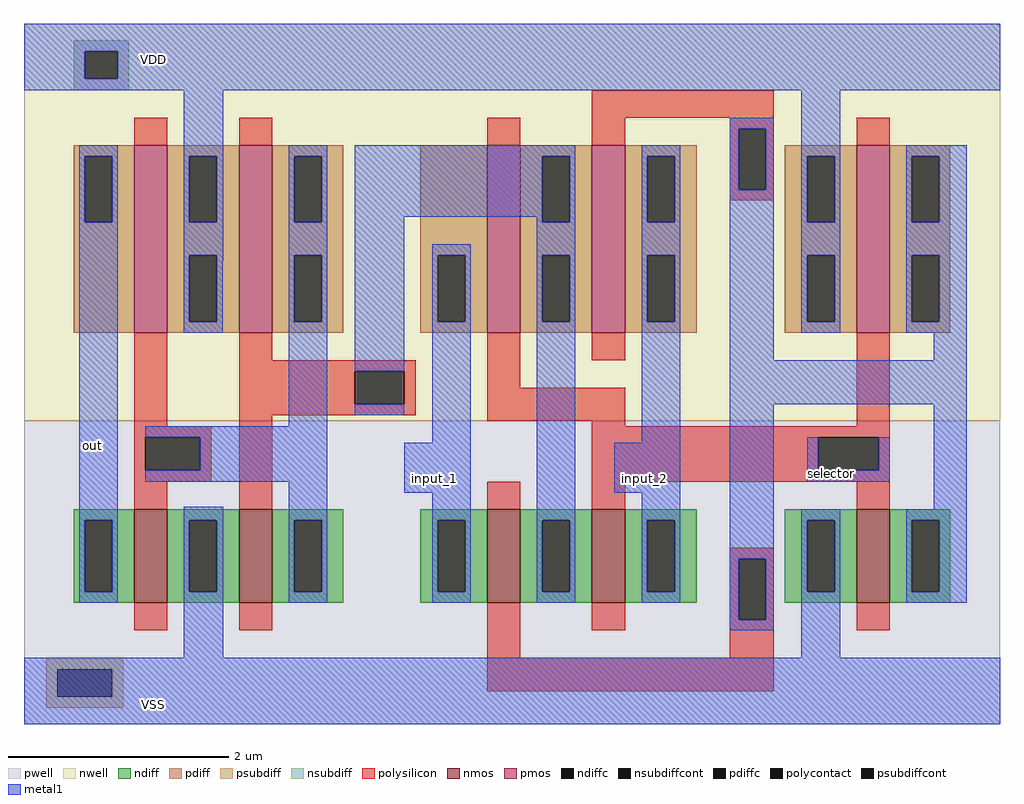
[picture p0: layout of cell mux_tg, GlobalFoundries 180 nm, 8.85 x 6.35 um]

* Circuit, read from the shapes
.subckt mux_tg VDD VSS input_1 input_2 out selector
XM1 VSS n1 out VSS nfet_03v3 w=0.85u l=0.3u
XM2 n1 n2 VSS VSS nfet_03v3 w=0.85u l=0.3u
XM3 n2 n3 input_1 VSS nfet_03v3 w=0.85u l=0.3u
XM4 input_2 selector n2 VSS nfet_03v3 w=0.85u l=0.3u
XM5 n3 selector VSS VSS nfet_03v3 w=0.85u l=0.3u
XM6 VDD n1 out VDD pfet_03v3 w=1.7u l=0.3u
XM7 n1 n2 VDD VDD pfet_03v3 w=1.7u l=0.3u
XM8 n2 selector input_1 VDD pfet_03v3 w=1.7u l=0.3u
XM9 input_2 n3 n2 VDD pfet_03v3 w=1.7u l=0.3u
XM10 n3 selector VDD VDD pfet_03v3 w=1.7u l=0.3u
.ends

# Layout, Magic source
magic
tech gf180mcuD
magscale 1 10
<< nwell >>
rect -260 300 1510 1020
<< pwell >>
rect -260 -250 1510 300
<< nmos >>
rect -60 -30 0 140
rect 130 -30 190 140
rect 580 -30 640 140
rect 770 -30 830 140
rect 1250 -30 1310 140
<< pmos >>
rect -60 460 0 800
rect 130 460 190 800
rect 580 460 640 800
rect 770 460 830 800
rect 1250 460 1310 800
<< ndiff >>
rect -170 120 -60 140
rect -170 -10 -150 120
rect -100 -10 -60 120
rect -170 -30 -60 -10
rect 0 120 130 140
rect 0 -10 40 120
rect 90 -10 130 120
rect 0 -30 130 -10
rect 190 120 319 140
rect 190 -10 230 120
rect 280 -10 319 120
rect 190 -30 319 -10
rect 459 120 580 140
rect 459 -10 490 120
rect 540 -10 580 120
rect 459 -30 580 -10
rect 640 120 770 140
rect 640 -10 680 120
rect 730 -10 770 120
rect 640 -30 770 -10
rect 830 120 960 140
rect 830 -10 870 120
rect 920 -10 960 120
rect 1120 120 1250 140
rect 830 -30 960 -10
rect 1120 -10 1160 120
rect 1210 -10 1250 120
rect 1120 -30 1250 -10
rect 1310 120 1420 140
rect 1310 -10 1350 120
rect 1400 -10 1420 120
rect 1310 -30 1420 -10
<< pdiff >>
rect -170 780 -60 800
rect -170 660 -150 780
rect -100 660 -60 780
rect -170 460 -60 660
rect 0 780 130 800
rect 0 660 40 780
rect 90 660 130 780
rect 0 600 130 660
rect 0 480 40 600
rect 90 480 130 600
rect 0 460 130 480
rect 190 780 319 800
rect 190 660 230 780
rect 280 660 319 780
rect 190 600 319 660
rect 190 480 230 600
rect 280 480 319 600
rect 190 460 319 480
rect 459 600 580 800
rect 459 480 490 600
rect 540 480 580 600
rect 459 460 580 480
rect 640 780 770 800
rect 640 660 680 780
rect 730 660 770 780
rect 640 600 770 660
rect 640 480 680 600
rect 730 480 770 600
rect 640 460 770 480
rect 830 780 960 800
rect 830 660 870 780
rect 920 660 960 780
rect 1120 780 1250 800
rect 830 600 960 660
rect 830 480 870 600
rect 920 480 960 600
rect 830 460 960 480
rect 1120 660 1160 780
rect 1210 660 1250 780
rect 1120 600 1250 660
rect 1120 480 1160 600
rect 1210 480 1250 600
rect 1120 460 1250 480
rect 1310 780 1420 800
rect 1310 660 1350 780
rect 1400 660 1420 780
rect 1310 600 1420 660
rect 1310 480 1350 600
rect 1400 480 1420 600
rect 1310 460 1420 480
<< ndiffc >>
rect -150 -10 -100 120
rect 40 -10 90 120
rect 230 -10 280 120
rect 490 -10 540 120
rect 680 -10 730 120
rect 870 -10 920 120
rect 1160 -10 1210 120
rect 1350 -10 1400 120
<< pdiffc >>
rect -150 660 -100 780
rect 40 660 90 780
rect 40 480 90 600
rect 230 660 280 780
rect 230 480 280 600
rect 490 480 540 600
rect 680 660 730 780
rect 680 480 730 600
rect 870 660 920 780
rect 870 480 920 600
rect 1160 660 1210 780
rect 1160 480 1210 600
rect 1350 660 1400 780
rect 1350 480 1400 600
<< psubdiff >>
rect -220 -150 -80 -130
rect -220 -200 -200 -150
rect -100 -200 -80 -150
rect -220 -220 -80 -200
<< nsubdiff >>
rect -170 970 -70 990
rect -170 920 -150 970
rect -90 920 -70 970
rect -170 900 -70 920
<< psubdiffcont >>
rect -200 -200 -100 -150
<< nsubdiffcont >>
rect -150 920 -90 970
<< polysilicon >>
rect 770 850 1100 900
rect -60 800 0 850
rect 130 800 190 850
rect 580 800 640 850
rect 770 800 830 850
rect 1020 830 1100 850
rect 1020 719 1036 830
rect 1085 719 1100 830
rect 1250 800 1310 850
rect 1020 700 1100 719
rect -60 290 0 460
rect 130 410 190 460
rect 130 390 450 410
rect 130 330 340 390
rect 430 330 450 390
rect 130 310 450 330
rect 580 360 640 460
rect 770 410 830 460
rect -60 270 80 290
rect -60 210 -40 270
rect 60 210 80 270
rect -60 190 80 210
rect -60 140 0 190
rect 130 140 190 310
rect 580 300 830 360
rect 770 290 830 300
rect 1250 290 1310 460
rect 770 270 1310 290
rect 770 210 1180 270
rect 1290 210 1310 270
rect 770 190 1310 210
rect 580 140 640 190
rect 770 140 830 190
rect 1250 140 1310 190
rect 1020 50 1100 70
rect -60 -80 0 -30
rect 130 -80 190 -30
rect 580 -130 640 -30
rect 770 -80 830 -30
rect 1020 -61 1036 50
rect 1085 -61 1100 50
rect 1020 -130 1100 -61
rect 1250 -80 1310 -30
rect 580 -190 1100 -130
<< polycontact >>
rect 1036 719 1085 830
rect 340 330 430 390
rect -40 210 60 270
rect 1180 210 1290 270
rect 1036 -61 1085 50
<< metal1 >>
rect -260 970 1510 1020
rect -260 920 -150 970
rect -90 920 1510 970
rect -260 900 1510 920
rect -160 780 -90 800
rect -160 660 -150 780
rect -100 660 -90 780
rect -160 120 -90 660
rect 30 780 101 900
rect 1020 830 1100 850
rect 30 660 40 780
rect 90 660 101 780
rect 30 600 101 660
rect 30 480 40 600
rect 90 590 101 600
rect 220 780 290 800
rect 220 660 230 780
rect 280 660 290 780
rect 220 600 290 660
rect 90 480 100 590
rect 30 460 100 480
rect 220 480 230 600
rect 280 480 290 600
rect 220 290 290 480
rect 340 780 740 800
rect 340 670 680 780
rect 340 390 430 670
rect 670 660 680 670
rect 730 660 740 780
rect 340 310 430 330
rect 480 600 550 620
rect 480 480 490 600
rect 540 480 550 600
rect -40 270 290 290
rect 60 210 290 270
rect 480 260 550 480
rect -40 190 290 210
rect -160 -10 -150 120
rect -100 -10 -90 120
rect -160 -30 -90 -10
rect 30 120 101 144
rect 30 -10 40 120
rect 90 -10 101 120
rect 30 -130 101 -10
rect 220 120 290 190
rect 430 170 550 260
rect 220 -10 230 120
rect 280 -10 290 120
rect 220 -30 290 -10
rect 480 120 550 170
rect 480 -10 490 120
rect 540 -10 550 120
rect 480 -30 550 -10
rect 670 600 740 660
rect 670 480 680 600
rect 730 480 740 600
rect 670 120 740 480
rect 860 780 930 800
rect 860 660 870 780
rect 920 660 930 780
rect 860 600 930 660
rect 860 480 870 600
rect 920 480 930 600
rect 860 260 930 480
rect 810 170 930 260
rect 670 -10 680 120
rect 730 -10 740 120
rect 670 -30 740 -10
rect 860 120 930 170
rect 860 -10 870 120
rect 920 -10 930 120
rect 860 -30 930 -10
rect 1020 719 1036 830
rect 1085 719 1100 830
rect 1020 410 1100 719
rect 1150 780 1220 900
rect 1150 660 1160 780
rect 1210 660 1220 780
rect 1150 600 1220 660
rect 1150 480 1160 600
rect 1210 480 1220 600
rect 1150 460 1220 480
rect 1340 780 1450 800
rect 1340 660 1350 780
rect 1400 660 1450 780
rect 1340 600 1450 660
rect 1340 480 1350 600
rect 1400 480 1450 600
rect 1340 460 1450 480
rect 1390 410 1450 460
rect 1020 330 1450 410
rect 1020 50 1100 330
rect 1160 210 1180 270
rect 1290 210 1310 270
rect 1160 190 1310 210
rect 1390 140 1450 330
rect 1020 -61 1036 50
rect 1085 -61 1100 50
rect 1020 -80 1100 -61
rect 1150 120 1220 140
rect 1150 -10 1160 120
rect 1210 -10 1220 120
rect 1150 -130 1220 -10
rect 1340 120 1450 140
rect 1340 -10 1350 120
rect 1400 -10 1450 120
rect 1340 -30 1450 -10
rect -260 -250 1510 -130
<< labels >>
rlabel metal1 480 190 490 200 1 input_1
rlabel metal1 860 190 870 200 1 input_2
rlabel metal1 1200 200 1210 210 1 selector
rlabel metal1 -140 250 -130 260 1 out
rlabel metal1 -30 950 -20 960 1 VDD
rlabel metal1 -30 -220 -20 -210 1 VSS
<< end >>
